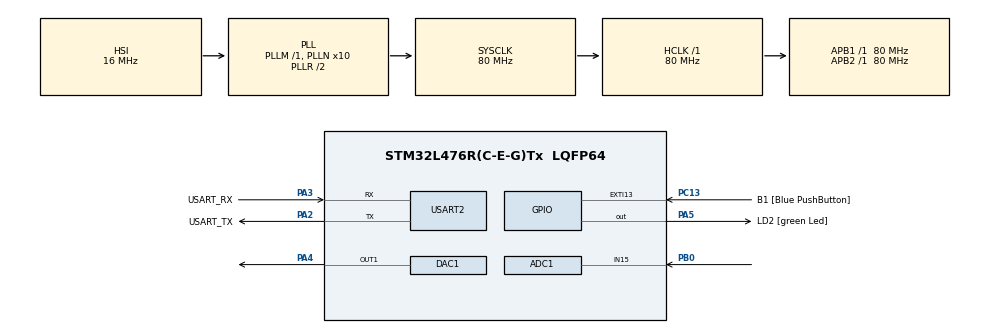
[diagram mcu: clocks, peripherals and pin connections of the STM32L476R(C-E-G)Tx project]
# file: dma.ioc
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ADC1.Channel-0\#ChannelRegularConversion=ADC_CHANNEL_15
ADC1.NbrOfConversionFlag=1
ADC1.OffsetNumber-0\#ChannelRegularConversion=ADC_OFFSET_NONE
ADC1.Rank-0\#ChannelRegularConversion=1
ADC1.SamplingTime-0\#ChannelRegularConversion=ADC_SAMPLETIME_92CYCLES_5
ADC1.master=1
DAC1.DAC_Trigger-DAC_OUT1=DAC_TRIGGER_T6_TRGO
Dma.DAC_CH1.0.Direction=DMA_MEMORY_TO_PERIPH
Dma.DAC_CH1.0.Instance=DMA1_Channel3
Dma.DAC_CH1.0.MemDataAlignment=DMA_MDATAALIGN_BYTE
Dma.DAC_CH1.0.MemInc=DMA_MINC_ENABLE
Dma.DAC_CH1.0.Mode=DMA_CIRCULAR
Dma.DAC_CH1.0.PeriphDataAlignment=DMA_PDATAALIGN_BYTE
Dma.DAC_CH1.0.PeriphInc=DMA_PINC_DISABLE
Dma.DAC_CH1.0.Priority=DMA_PRIORITY_LOW
Dma.Request0=DAC_CH1
Mcu.Family=STM32L4
Mcu.Name=STM32L476R(C-E-G)Tx
Mcu.Package=LQFP64
NVIC.ADC1_2_IRQn=true\:0\:0\:false\:false\:true\:true\:true
NVIC.DMA1_Channel3_IRQn=true\:0\:0\:false\:false\:true\:false\:true
NVIC.PriorityGroup=NVIC_PRIORITYGROUP_4
PA13\ (JTMS-SWDIO).GPIO_Label=TMS
PA13\ (JTMS-SWDIO).Mode=Serial_Wire
PA13\ (JTMS-SWDIO).Signal=SYS_JTMS-SWDIO
PA14\ (JTCK-SWCLK).GPIO_Label=TCK
PA14\ (JTCK-SWCLK).Mode=Serial_Wire
PA14\ (JTCK-SWCLK).Signal=SYS_JTCK-SWCLK
PA2.GPIO_Label=USART_TX
PA2.GPIO_Mode=GPIO_MODE_AF_PP
PA2.GPIO_PuPd=GPIO_NOPULL
PA2.GPIO_Speed=GPIO_SPEED_FREQ_VERY_HIGH
PA2.Mode=Asynchronous
PA2.Signal=USART2_TX
PA3.GPIO_Label=USART_RX
PA3.GPIO_Mode=GPIO_MODE_AF_PP
PA3.GPIO_PuPd=GPIO_NOPULL
PA3.GPIO_Speed=GPIO_SPEED_FREQ_VERY_HIGH
PA3.Mode=Asynchronous
PA3.Signal=USART2_RX
PA4.Signal=COMP_DAC11_group
PA5.GPIO_Label=LD2 [green Led]
PA5.GPIO_ModeDefaultOutputPP=GPIO_MODE_OUTPUT_PP
PA5.GPIO_PuPd=GPIO_NOPULL
PA5.GPIO_Speed=GPIO_SPEED_FREQ_LOW
PA5.Signal=GPIO_Output
PB0.Signal=ADCx_IN15
PB3\ (JTDO-TRACESWO).GPIO_Label=SWO
PB3\ (JTDO-TRACESWO).Signal=SYS_JTDO-SWO
PC13.GPIO_Label=B1 [Blue PushButton]
PC13.GPIO_ModeDefaultEXTI=GPIO_MODE_IT_FALLING
PC13.GPIO_PuPd=GPIO_NOPULL
PC13.Signal=GPXTI13
PC14-OSC32_IN\ (PC14).Mode=LSE-External-Oscillator
PC14-OSC32_IN\ (PC14).Signal=RCC_OSC32_IN
PC15-OSC32_OUT\ (PC15).Mode=LSE-External-Oscillator
PC15-OSC32_OUT\ (PC15).Signal=RCC_OSC32_OUT
PH0-OSC_IN\ (PH0).Signal=RCC_OSC_IN
PH1-OSC_OUT\ (PH1).Signal=RCC_OSC_OUT
ProjectManager.HeapSize=0x200
ProjectManager.StackSize=0x400
ProjectManager.TargetToolchain=STM32CubeIDE
RCC.ADCFreq_Value=64000000
RCC.AHBFreq_Value=80000000
RCC.APB1Freq_Value=80000000
RCC.APB1TimFreq_Value=80000000
RCC.APB2Freq_Value=80000000
RCC.APB2TimFreq_Value=80000000
RCC.CortexFreq_Value=80000000
RCC.HCLKFreq_Value=80000000
RCC.HSE_VALUE=8000000
RCC.HSI_VALUE=16000000
RCC.MSI_VALUE=4000000
RCC.PLLN=10
RCC.PLLSourceVirtual=RCC_PLLSOURCE_HSI
RCC.PREFETCH_ENABLE=1
RCC.SYSCLKFreq_VALUE=80000000
RCC.SYSCLKSource=RCC_SYSCLKSOURCE_PLLCLK
RCC.USBFreq_Value=64000000
RCC.VCOOutputFreq_Value=160000000
SH.ADCx_IN15.0=ADC1_IN15,IN15-Single-Ended
SH.COMP_DAC11_group.0=DAC1_OUT1,DAC_OUT1
TIM6.Period=1558
TIM6.Prescaler=15999
TIM6.TIM_MasterOutputTrigger=TIM_TRGO_UPDATE
USART2.VirtualMode-Asynchronous=VM_ASYNC
VP_TIM6_VS_ClockSourceINT.Mode=Enable_Timer
board=NUCLEO-L476RG

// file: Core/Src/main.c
/* USER CODE BEGIN Header */
/**
  ******************************************************************************
  * @file           : main.c
  * @brief          : !!!!!!! Connect pins PA4 and PB0 !!!!!!
  * 				  Using DAC desired voltages are produced on pin PA4,
  * 				  and ADC measures these voltage using pin PB0.
  * 				  DMA is used to set the DAC output.
  ******************************************************************************
  * @attention
  *
  * <h2><center>&copy; Copyright (c) 2024 STMicroelectronics.
  * All rights reserved.</center></h2>
  *
  * This software component is licensed by ST under BSD 3-Clause license,
  * the "License"; You may not use this file except in compliance with the
  * License. You may obtain a copy of the License at:
  *                        opensource.org/licenses/BSD-3-Clause
  *
  ******************************************************************************
  */
/* USER CODE END Header */
#include "main.h"
#include "adc.h"
#include "dac.h"
#include "dma.h"
#include "tim.h"
#include "usart.h"
#include "gpio.h"

/* USER CODE BEGIN Includes */
#include <stdio.h>
/* USER CODE END Includes */

/* USER CODE BEGIN PV */
uint8_t adc_flag = 0;
uint16_t adc_value;
uint16_t dac_value = 0;
char dac[] = {128, 176, 217, 245, 255, 245, 217, 176, 128, 79, 38, 10, 1, 10, 38, 79};
/* USER CODE END PV */

void SystemClock_Config(void);

/* USER CODE BEGIN 0 */
void HAL_ADC_ConvCpltCallback(ADC_HandleTypeDef *hadc){
	if(hadc == &hadc1){
		adc_flag = 1;
		adc_value = HAL_ADC_GetValue(hadc);
	}
}

/**
 * @brief function for printing using UART
 */
int _write(int file, char* ptr, int len){
	HAL_UART_Transmit(&huart2, (uint8_t *)ptr, len, HAL_MAX_DELAY);
	return len;
}
/* USER CODE END 0 */

int main(void)
{

  /* MCU Configuration--------------------------------------------------------*/

  /* Reset of all peripherals, Initializes the Flash interface and the Systick. */
  HAL_Init();

  /* Configure the system clock */
  SystemClock_Config();

  /* Initialize all configured peripherals */
  MX_GPIO_Init();
  MX_DMA_Init();
  MX_USART2_UART_Init();
  MX_ADC1_Init();
  MX_DAC1_Init();
  MX_TIM6_Init();
  /* USER CODE BEGIN 2 */
  //HAL_ADC_Start_IT(&hadc1);
  HAL_ADC_Start(&hadc1);

  HAL_DAC_SetValue(&hdac1, DAC_CHANNEL_1, DAC_ALIGN_8B_R, 0);
  HAL_DAC_Start_DMA(&hdac1, DAC_CHANNEL_1, &dac[0], 16, DAC_ALIGN_8B_R);
  HAL_TIM_Base_Start_IT(&htim6);
  /* USER CODE END 2 */

  /* Infinite loop */
  /* USER CODE BEGIN WHILE */
  while (1){
	  if(HAL_ADC_PollForConversion(&hadc1, 10) == HAL_OK){
		adc_value = HAL_ADC_GetValue(&hadc1);
		printf("Measured value: %d\r\n", adc_value);
		HAL_ADC_Start(&hadc1);
	  }

//	if (adc_flag == 1){
//		printf("Measured value: %d\r\n", adc_value);
//		adc_flag = 0;
//
//		HAL_ADC_Start_IT(&hadc1);
//	}
	HAL_Delay(100);
    /* USER CODE END WHILE */

  }
}

void SystemClock_Config(void)
{
  RCC_OscInitTypeDef RCC_OscInitStruct = {0};
  RCC_ClkInitTypeDef RCC_ClkInitStruct = {0};
  RCC_PeriphCLKInitTypeDef PeriphClkInit = {0};

  /** Initializes the RCC Oscillators according to the specified parameters
  * in the RCC_OscInitTypeDef structure.
  */
  RCC_OscInitStruct.OscillatorType = RCC_OSCILLATORTYPE_HSI;
  RCC_OscInitStruct.HSIState = RCC_HSI_ON;
  RCC_OscInitStruct.HSICalibrationValue = RCC_HSICALIBRATION_DEFAULT;
  RCC_OscInitStruct.PLL.PLLState = RCC_PLL_ON;
  RCC_OscInitStruct.PLL.PLLSource = RCC_PLLSOURCE_HSI;
  RCC_OscInitStruct.PLL.PLLM = 1;
  RCC_OscInitStruct.PLL.PLLN = 10;
  RCC_OscInitStruct.PLL.PLLP = RCC_PLLP_DIV7;
  RCC_OscInitStruct.PLL.PLLQ = RCC_PLLQ_DIV2;
  RCC_OscInitStruct.PLL.PLLR = RCC_PLLR_DIV2;
  if (HAL_RCC_OscConfig(&RCC_OscInitStruct) != HAL_OK)
  {
    Error_Handler();
  }
  /** Initializes the CPU, AHB and APB buses clocks
  */
  RCC_ClkInitStruct.ClockType = RCC_CLOCKTYPE_HCLK|RCC_CLOCKTYPE_SYSCLK
                              |RCC_CLOCKTYPE_PCLK1|RCC_CLOCKTYPE_PCLK2;
  RCC_ClkInitStruct.SYSCLKSource = RCC_SYSCLKSOURCE_PLLCLK;
  RCC_ClkInitStruct.AHBCLKDivider = RCC_SYSCLK_DIV1;
  RCC_ClkInitStruct.APB1CLKDivider = RCC_HCLK_DIV1;
  RCC_ClkInitStruct.APB2CLKDivider = RCC_HCLK_DIV1;

  if (HAL_RCC_ClockConfig(&RCC_ClkInitStruct, FLASH_LATENCY_4) != HAL_OK)
  {
    Error_Handler();
  }
  PeriphClkInit.PeriphClockSelection = RCC_PERIPHCLK_USART2|RCC_PERIPHCLK_ADC;
  PeriphClkInit.Usart2ClockSelection = RCC_USART2CLKSOURCE_PCLK1;
  PeriphClkInit.AdcClockSelection = RCC_ADCCLKSOURCE_PLLSAI1;
  PeriphClkInit.PLLSAI1.PLLSAI1Source = RCC_PLLSOURCE_HSI;
  PeriphClkInit.PLLSAI1.PLLSAI1M = 1;
  PeriphClkInit.PLLSAI1.PLLSAI1N = 8;
  PeriphClkInit.PLLSAI1.PLLSAI1P = RCC_PLLP_DIV7;
  PeriphClkInit.PLLSAI1.PLLSAI1Q = RCC_PLLQ_DIV2;
  PeriphClkInit.PLLSAI1.PLLSAI1R = RCC_PLLR_DIV2;
  PeriphClkInit.PLLSAI1.PLLSAI1ClockOut = RCC_PLLSAI1_ADC1CLK;
  if (HAL_RCCEx_PeriphCLKConfig(&PeriphClkInit) != HAL_OK)
  {
    Error_Handler();
  }
  /** Configure the main internal regulator output voltage
  */
  if (HAL_PWREx_ControlVoltageScaling(PWR_REGULATOR_VOLTAGE_SCALE1) != HAL_OK)
  {
    Error_Handler();
  }
}

void Error_Handler(void)
{
}

/************************ (C) COPYRIGHT STMicroelectronics *****END OF FILE****/
